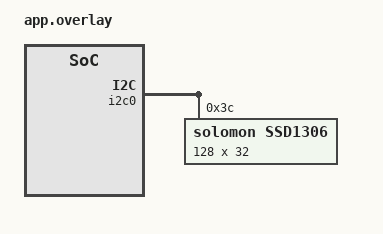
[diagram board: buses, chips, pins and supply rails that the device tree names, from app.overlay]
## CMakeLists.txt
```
#
# Copyright (c) 2023 HARDWARIO a.s.
#
# SPDX-License-Identifier: LicenseRef-HARDWARIO-5-Clause
#

cmake_minimum_required(VERSION 3.20.0)

find_package(Zephyr REQUIRED HINTS $ENV{ZEPHYR_BASE})
project(ssd1306)

target_sources(app PRIVATE src/main.c)
```

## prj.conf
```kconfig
#
# Copyright (c) 2023 HARDWARIO a.s.
#
# SPDX-License-Identifier: LicenseRef-HARDWARIO-5-Clause
#

CONFIG_CHARACTER_FRAMEBUFFER=y
CONFIG_CTR_BUTTON=y
CONFIG_CTR_DEFAULTS=y
CONFIG_CTR_LED=y
CONFIG_CTR_LOG=y
CONFIG_CTR_SHELL=y
CONFIG_DISPLAY=y
CONFIG_SSD1306_DEFAULT_CONTRAST=128
CONFIG_SSD1306=y
```

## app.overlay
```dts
&i2c0 {
	ssd1306: ssd1306@3c {
		compatible = "solomon,ssd1306";
		reg = <0x3c>;
		width = <128>;
		height = <32>;
		segment-offset = <0>;
		page-offset = <0>;
		display-offset = <0>;
		multiplex-ratio = <31>;
		segment-remap;
		com-invdir;
		com-sequential;
		prechargep = <0xd1>;
	};
};
```

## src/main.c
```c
/*
 * Copyright (c) 2023 HARDWARIO a.s.
 *
 * SPDX-License-Identifier: LicenseRef-HARDWARIO-5-Clause
 */

/* Zephyr includes */
#include <zephyr/device.h>
#include <zephyr/devicetree.h>
#include <zephyr/display/cfb.h>
#include <zephyr/kernel.h>
#include <zephyr/logging/log.h>

LOG_MODULE_REGISTER(main, LOG_LEVEL_DBG);

int main(void)
{
	int ret;

	LOG_INF("Build time: " __DATE__ " " __TIME__);

	const struct device *dev = DEVICE_DT_GET(DT_NODELABEL(ssd1306));

	if (!device_is_ready(dev)) {
		LOG_ERR("Device not ready");
		k_oops();
	}

	ret = cfb_framebuffer_init(dev);
	if (ret) {
		LOG_ERR("Call `cfb_framebuffer_init` failed: %d", ret);
		k_oops();
	}

	ret = cfb_framebuffer_invert(dev);
	if (ret) {
		LOG_ERR("Call `cfb_framebuffer_invert` failed: %d", ret);
		k_oops();
	}

	ret = cfb_print(dev, "HARDWARIO", 0, 0);
	if (ret) {
		LOG_ERR("Call `cfb_print` failed: %d", ret);
		k_oops();
	}

	ret = cfb_print(dev, "CHESTER", 0, 16);
	if (ret) {
		LOG_ERR("Call `cfb_print` failed: %d", ret);
		k_oops();
	}

	ret = cfb_framebuffer_finalize(dev);
	if (ret) {
		LOG_ERR("Call `cfb_framebuffer_finalize` failed: %d", ret);
		k_oops();
	}

	for (;;) {
		LOG_INF("Alive");

		ret = display_blanking_on(dev);
		if (ret) {
			LOG_ERR("Call `display_blanking_on` failed: %d", ret);
			k_oops();
		}

		k_sleep(K_MSEC(1000));

		ret = display_blanking_off(dev);
		if (ret) {
			LOG_ERR("Call `display_blanking_off` failed: %d", ret);
			k_oops();
		}

		k_sleep(K_MSEC(1000));
	}

	return 0;
}
```
